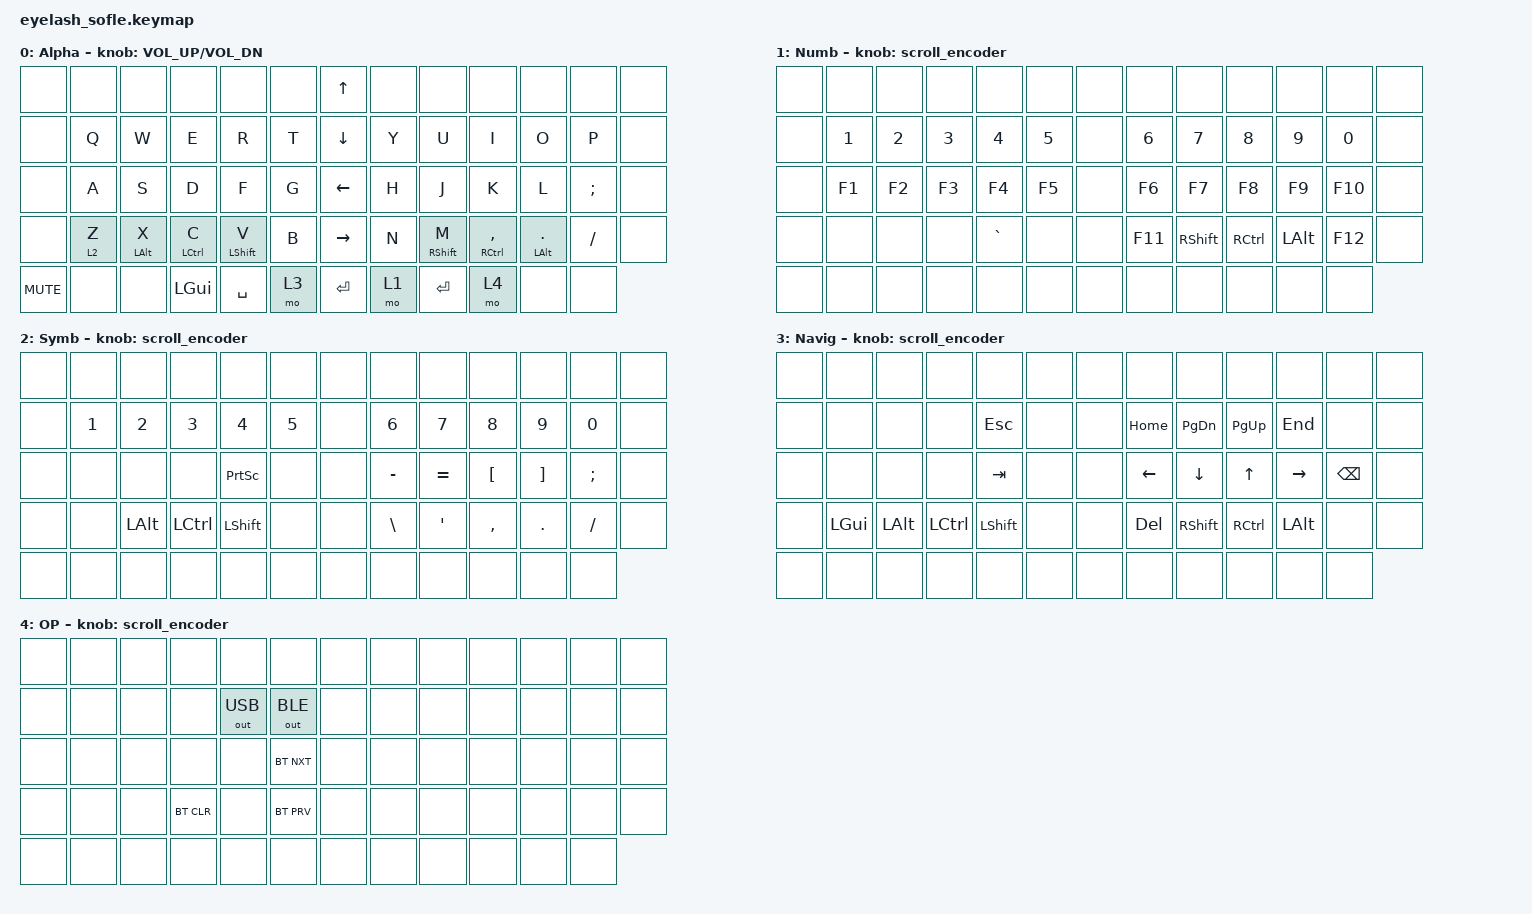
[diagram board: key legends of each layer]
#define ZMK_POINTING_DEFAULT_MOVE_VAL 1200  // 600
#define ZMK_POINTING_DEFAULT_SCRL_VAL 35    // 10

#include <input/processors.dtsi>
#include <zephyr/dt-bindings/input/input-event-codes.h>
#include <behaviors.dtsi>
#include <dt-bindings/zmk/bt.h>
#include <dt-bindings/zmk/keys.h>
#include <dt-bindings/zmk/outputs.h>
#include <dt-bindings/zmk/pointing.h>
#include <dt-bindings/zmk/rgb.h>

/ {
    zip_scroll_scaler: zip_scroll_scaler {
        compatible = "zmk,input-processor-scaler";
        #input-processor-cells = <2>;
        type = <INPUT_EV_REL>;
        codes = <INPUT_REL_WHEEL INPUT_REL_HWHEEL>;
        track-remainders;
    };
};

&mmv_input_listener { input-processors = <&zip_xy_scaler 2 1>; };

&msc_input_listener { input-processors = <&zip_scroll_scaler 2 1>; };

&msc {
    acceleration-exponent = <0>;      // 0
    time-to-max-speed-ms = <0>;       // 300
    delay-ms = <0>;                   // 0
};

&mmv {
    time-to-max-speed-ms = <400>;
    acceleration-exponent = <1>;
};

/ {
    scroll_encoder: scroll_encoder {
        compatible = "zmk,behavior-sensor-rotate";
        #sensor-binding-cells = <0>;
        bindings = <&msc SCRL_DOWN>, <&msc SCRL_UP>;

        tap-ms = <100>;
    };

    behaviors {
        hml: home_row_mod_left {
            display-name = "hml";
            compatible = "zmk,behavior-hold-tap";
            #binding-cells = <2>;
            flavor = "balanced";
            require-prior-idle-ms = <150>;
            tapping-term-ms = <200>;
            quick-tap-ms = <175>;
            bindings = <&kp>, <&kp>;
            hold-trigger-key-positions = < 
                7	8	9	10	11	12
                20	21	22	23	24	25
                33	34	35	36	37	38
                46	47	48	49	50	51
                43 
            >; // List of keys on the right side of the keyboard, optimized for key 43(v)
            hold-trigger-on-release;
        };
        hmr: home_row_mod_right {
            display-name = "hmr";
            compatible = "zmk,behavior-hold-tap";
            #binding-cells = <2>;
            flavor = "balanced";
            require-prior-idle-ms = <150>;
            tapping-term-ms = <200>;
            quick-tap-ms = <175>;
            bindings = <&kp>, <&kp>;
            hold-trigger-key-positions = <
                0	1	2	3	4	5
                13	14	15	16	17	18
                26	27	28	29	30	31
                39	40	41	42	43	44
            >; // List of keys on the left side of the keyboard
            hold-trigger-on-release;
        };
    };
    
    combos {
        compatible = "zmk,combos";

        combo_bks {
            timeout-ms = <50>;
            key-positions = <21 22>;
            bindings = <&kp BACKSPACE>;
        };

        combo_caps_word {
            timeout-ms = <50>;
            key-positions = <57 59>;
            bindings = <&caps_word>;
        };
    };   

    macros {
        shift_MB3: shift_MB3 {
            compatible = "zmk,behavior-macro";
            #binding-cells = <0>;
            bindings =
                <&macro_press>,
                <&kp LEFT_SHIFT>,
                <&macro_press>,
                <&mkp MB3>,
                <&macro_pause_for_release>,
                <&macro_release>,
                <&mkp MB3 &kp LEFT_SHIFT>;

            label = "SHIFT_MB3";
        };
    };

    keymap {
        compatible = "zmk,keymap";

        Alpha {
            bindings = <
//|------------------|------------------|------------------|------------------|------------------|------------------|------------------|------------------|------------------|------------------|------------------|------------------|------------------
   &none              &none              &none              &none              &none              &none              &kp UP_ARROW       &none              &none              &none              &none              &none              &none
//|------------------|------------------|------------------|------------------|------------------|------------------|------------------|------------------|------------------|------------------|------------------|------------------|------------------
   &none              &kp Q              &kp W              &kp E              &kp R              &kp T              &kp DOWN_ARROW     &kp Y              &kp U              &kp I              &kp O              &kp P              &none
//|------------------|------------------|------------------|------------------|------------------|------------------|------------------|------------------|------------------|------------------|------------------|------------------|------------------
   &none              &kp A              &kp S              &kp D              &kp F              &kp G              &kp LEFT_ARROW     &kp H              &kp J              &kp K              &kp L              &kp SEMI           &none
//|------------------|------------------|------------------|------------------|------------------|------------------|------------------|------------------|------------------|------------------|------------------|------------------|------------------
   &none              &lt 2 Z            &hml LALT X        &hml LCTRL C       &hml LSHFT V       &kp B              &kp RIGHT_ARROW    &kp N              &hmr RSHFT M       &hmr RCTRL COMMA   &hmr LALT DOT      &kp FSLH           &none
//|------------------|------------------|------------------|------------------|------------------|------------------|------------------|------------------|------------------|------------------|------------------|------------------|------------------
   &kp C_MUTE         &none              &none              &kp LGUI           &kp SPACE          &mo 3              &kp ENTER          &mo 1              &kp ENTER          &mo 4              &none              &none
//|------------------|------------------|------------------|------------------|------------------|------------------|------------------|------------------|------------------|------------------|------------------|------------------|------------------
            >;

            display-name = "Alpha";
            sensor-bindings = <&inc_dec_kp C_VOLUME_UP C_VOL_DN>;
        };

        Number {
            bindings = <
//|------------------|------------------|------------------|------------------|------------------|------------------|------------------|------------------|------------------|------------------|------------------|------------------|------------------
   &none              &none              &none              &none              &none              &none              &none              &none              &none              &none              &none              &none              &none            
//|------------------|------------------|------------------|------------------|------------------|------------------|------------------|------------------|------------------|------------------|------------------|------------------|------------------
   &none              &kp N1             &kp N2             &kp N3             &kp N4             &kp N5             &none              &kp N6             &kp N7             &kp N8             &kp N9             &kp N0             &none
//|------------------|------------------|------------------|------------------|------------------|------------------|------------------|------------------|------------------|------------------|------------------|------------------|------------------
   &none              &kp F1             &kp F2             &kp F3             &kp F4             &kp F5             &none              &kp F6             &kp F7             &kp F8             &kp F9             &kp F10            &none
//|------------------|------------------|------------------|------------------|------------------|------------------|------------------|------------------|------------------|------------------|------------------|------------------|------------------
   &none              &none              &none              &none              &kp GRAVE          &none              &none              &kp F11            &kp RSHFT          &kp RCTRL          &kp LALT           &kp F12            &none
//|------------------|------------------|------------------|------------------|------------------|------------------|------------------|------------------|------------------|------------------|------------------|------------------|------------------
   &none              &none              &none              &none              &none              &none              &none              &none              &none              &none              &none              &none            
//|------------------|------------------|------------------|------------------|------------------|------------------|------------------|------------------|------------------|------------------|------------------|------------------|------------------
            >;

            display-name = "Numb";
            sensor-bindings = <&scroll_encoder>;
        };

        Symbol {
            bindings = <
//|------------------|------------------|------------------|------------------|------------------|------------------|------------------|------------------|------------------|------------------|------------------|------------------|------------------
   &none              &none              &none              &none              &none              &none              &none              &none              &none              &none              &none              &none              &none            
//|------------------|------------------|------------------|------------------|------------------|------------------|------------------|------------------|------------------|------------------|------------------|------------------|------------------
   &none              &kp N1             &kp N2             &kp N3             &kp N4             &kp N5             &none              &kp N6             &kp N7             &kp N8             &kp N9             &kp N0             &none
//|------------------|------------------|------------------|------------------|------------------|------------------|------------------|------------------|------------------|------------------|------------------|------------------|------------------
   &none              &none              &none              &none              &kp PSCRN          &none              &none              &kp MINUS          &kp EQUAL          &kp LBKT           &kp RBKT           &kp SEMI           &none            
//|------------------|------------------|------------------|------------------|------------------|------------------|------------------|------------------|------------------|------------------|------------------|------------------|------------------
   &none              &none              &kp LALT           &kp LCTRL          &kp LSHFT          &none              &none              &kp BSLH           &kp APOS           &kp COMMA          &kp DOT            &kp FSLH           &none            
//|------------------|------------------|------------------|------------------|------------------|------------------|------------------|------------------|------------------|------------------|------------------|------------------|------------------
   &none              &none              &none              &none              &none              &none              &none              &none              &none              &none              &none              &none            
//|------------------|------------------|------------------|------------------|------------------|------------------|------------------|------------------|------------------|------------------|------------------|------------------|------------------
            >;

            display-name = "Symb";
            sensor-bindings = <&scroll_encoder>;
        };

        Navigation {
            bindings = <
//|------------------|------------------|------------------|------------------|------------------|------------------|------------------|------------------|------------------|------------------|------------------|------------------|------------------
   &none              &none              &none              &none              &none              &none              &none              &none              &none              &none              &none              &none              &none            
//|------------------|------------------|------------------|------------------|------------------|------------------|------------------|------------------|------------------|------------------|------------------|------------------|------------------
   &none              &none              &none              &none              &kp ESC            &none              &none              &kp HOME           &kp PG_DN          &kp PG_UP          &kp END            &none              &none            
//|------------------|------------------|------------------|------------------|------------------|------------------|------------------|------------------|------------------|------------------|------------------|------------------|------------------
   &none              &none              &none              &none              &kp TAB            &none              &none              &kp LEFT           &kp DOWN           &kp UP             &kp RIGHT          &kp BACKSPACE      &none            
//|------------------|------------------|------------------|------------------|------------------|------------------|------------------|------------------|------------------|------------------|------------------|------------------|------------------
   &none              &kp LGUI           &kp LALT           &kp LCTRL          &kp LSHFT          &none              &none              &kp DEL            &kp RSHFT          &kp RCTRL          &kp LALT           &none              &none            
//|------------------|------------------|------------------|------------------|------------------|------------------|------------------|------------------|------------------|------------------|------------------|------------------|------------------
   &none              &none              &none              &none              &none              &none              &none              &none              &none              &none              &none              &none            
//|------------------|------------------|------------------|------------------|------------------|------------------|------------------|------------------|------------------|------------------|------------------|------------------|------------------
            >;

            display-name = "Navig";
            sensor-bindings = <&scroll_encoder>;
        };

        Output {
            bindings = <
//|------------------|------------------|------------------|------------------|------------------|------------------|------------------|------------------|------------------|------------------|------------------|------------------|------------------
   &none              &none              &none              &none              &none              &none              &none              &none              &none              &none              &none              &none              &none            
//|------------------|------------------|------------------|------------------|------------------|------------------|------------------|------------------|------------------|------------------|------------------|------------------|------------------
   &none              &none              &none              &none              &out OUT_USB       &out OUT_BLE       &none              &none              &none              &none              &none              &none              &none            
//|------------------|------------------|------------------|------------------|------------------|------------------|------------------|------------------|------------------|------------------|------------------|------------------|------------------
   &none              &none              &none              &none              &none              &bt BT_NXT         &none              &none              &none              &none              &none              &none              &none            
//|------------------|------------------|------------------|------------------|------------------|------------------|------------------|------------------|------------------|------------------|------------------|------------------|------------------
   &none              &none              &none              &bt BT_CLR         &none              &bt BT_PRV         &none              &none              &none              &none              &none              &none              &none            
//|------------------|------------------|------------------|------------------|------------------|------------------|------------------|------------------|------------------|------------------|------------------|------------------|------------------
   &none              &none              &none              &none              &none              &none              &none              &none              &none              &none              &none              &none            
//|------------------|------------------|------------------|------------------|------------------|------------------|------------------|------------------|------------------|------------------|------------------|------------------|------------------
            >;

            display-name = "OP";
            sensor-bindings = <&scroll_encoder>;
        };
    };
};



